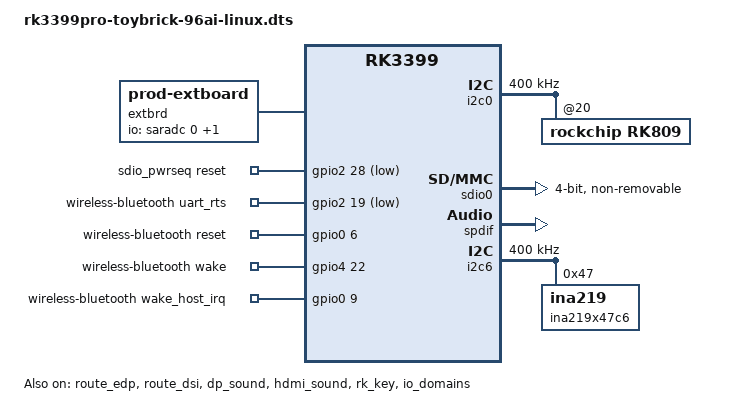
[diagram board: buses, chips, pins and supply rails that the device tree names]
/dts-v1/;
#include "rk3399pro-toybrick-96ai.dtsi"

#include "rk3399-android.dtsi"
/* Default camera: ov9750 */
//#include "rk3399pro-toybrick-96ai-ov9750.dtsi"
#include "rk3399pro-toybrick-96ai-imx258.dtsi"

/ {
	compatible = "rockchip,rk3399pro-toybrick-96ai-linux","rockchip,rk3399pro";
	extbrd: extbrd {
		compatible = "prod-extboard";
		io-channels = <&saradc 0>, <&saradc 1>;
	};
	
	vcc_4g: vcc-4g-regulator {
        status = "disabled";
    };

    sdio_pwrseq: sdio-pwrseq {
        compatible = "mmc-pwrseq-simple";
        clocks = <&rk809 1>;
        clock-names = "ext_clock";
        pinctrl-names = "default";
        pinctrl-0 = <&wifi_enable_h>;

        /*
         * On the module itself this is one of these (depending
         * on the actual card populated):
         * - SDIO_RESET_L_WL_REG_ON
         * - PDN (power down when low)
         */
        reset-gpios = <&gpio2 28 GPIO_ACTIVE_LOW>; /* GPIO2_D4 */
    };
	
	wireless-bluetooth {
        compatible = "bluetooth-platdata";
        clocks = <&rk809 1>;
        clock-names = "ext_clock";
        /* wifi-bt-power-toggle; */
        uart_rts_gpios = <&gpio2 19 GPIO_ACTIVE_LOW>;
        pinctrl-names = "default", "rts_gpio";
        pinctrl-0 = <&uart0_rts>;
        pinctrl-1 = <&uart0_gpios>;
        /* BT,power_gpio  = <&gpio3 19 GPIO_ACTIVE_HIGH>; */
        BT,reset_gpio    = <&gpio0 6 GPIO_ACTIVE_HIGH>;
        BT,wake_gpio     = <&gpio4 22 GPIO_ACTIVE_HIGH>;
        BT,wake_host_irq = <&gpio0 9 GPIO_ACTIVE_HIGH>;
        status = "okay";
    };
};

&i2c0 {
	status = "okay";
	i2c-scl-rising-time-ns = <180>;
	i2c-scl-falling-time-ns = <30>;
	clock-frequency = <400000>;

	rk809: pmic@20 {
		compatible = "rockchip,rk809";
		pmic-reset-func = <1>;
	};
};

&sdio0 {
    clock-frequency = <50000000>;
    clock-freq-min-max = <200000 50000000>;
    supports-sdio;
    bus-width = <4>;
    disable-wp;
    cap-sd-highspeed;
    cap-sdio-irq;
    keep-power-in-suspend;
    mmc-pwrseq = <&sdio_pwrseq>;
    non-removable;
    num-slots = <1>;
    pinctrl-names = "default";
    pinctrl-0 = <&sdio0_bus4 &sdio0_cmd &sdio0_clk>;
    sd-uhs-sdr104;
    status = "okay";
};

&route_edp {
	status = "okay";
};

&route_dsi {
	status = "okay";
};

&spdif {
	status = "okay";
};

&dp_sound {
	status = "okay";
};

&hdmi_dp_sound {
	status = "disabled";
};

&hdmi_sound {
	status = "okay";
};

&fiq_debugger {
	pinctrl-0 = <&uart2c_xfer>;
};

&rk_key {
	status = "okay";
	io-channels = <&saradc 2>;
	/delete-node/ power-key;
};

&i2c6 {
	status = "okay";
	i2c-scl-rising-time-ns = <300>;
	i2c-scl-falling-time-ns = <15>;
	clock-frequency=<400000>;

	ina219x47c6: ina219@47 {
		compatible = "ina219";
		reg = <0x47>;
	};
};

&spi5 {
	status = "disabled";

	flash@0 {
		compatible = "gigadevice,w25q64", "jedec,spi-nor";
		#address-cells = <1>;
		#size-cells = <1>;
		reg = <0>;
		m25p,fast-read;
		// The max SCLK of the flash 104/80 MHZ
		spi-max-frequency = <50000000>;
	};
};

&io_domains {
    status = "okay";
    bt656-supply = <&vcca_1v8>; /* APIO2_VDD */
    audio-supply = <&vcca_1v8>; /* APIO5_VDD */
    sdmmc-supply = <&vccio_sd>; /* SDMMC0_VDD */
    gpio1830-supply = <&vcc_1v8>; /* APIO4_VDD */                                                                                                                                                   
};

&pinctrl {
    sdio-pwrseq {
        wifi_enable_h: wifi-enable-h {
            rockchip,pins =
                <2 28 RK_FUNC_GPIO &pcfg_pull_none>;
        };
    };

    wireless-bluetooth {
        uart0_gpios: uart0-gpios {
            rockchip,pins =
                <2 19 RK_FUNC_GPIO &pcfg_pull_none>;
        };
    };
};
